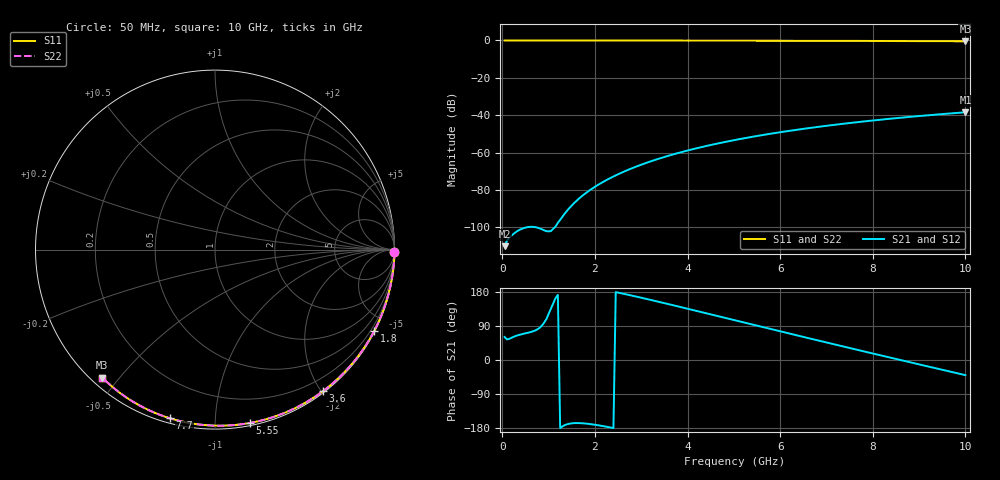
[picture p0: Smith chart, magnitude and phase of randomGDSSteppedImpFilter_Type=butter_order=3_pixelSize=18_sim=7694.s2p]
! freq	dB(S11)	phase(S11)	dB(S12)	phase(S12)
!  dB(S21)	phase(S21)	dB(S22)	phase(S22)
!S-par simulation data
#  GHz  S  DB  R 50
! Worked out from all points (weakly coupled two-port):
!   200 points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, 50 MHz to 10 GHz, reference 50 ohm
!   highest |S21| = -38.41 dB at 10 GHz (marker M1); lowest = -110.0 dB at 50 MHz (marker M2)
!   lowest |S11| = -0.4 dB at 10 GHz (marker M3), VSWR 39.08, Z = 1.54 - j22.6 ohm
!   |S11| at or under -10 dB: nowhere
!   |S22| runs from -0.4 to 0.0 dB; largest |S21 - S12| = 0
!   S11 on the Smith chart (normalised r, x): 50 MHz: open; 1.8 GHz: 0.04, -4.18; 3.6 GHz: 0.02, -2.02; 5.55 GHz: 0.02, -1.22; 7.7 GHz: 0.02, -0.77; 10 GHz: 0.03, -0.45
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0.05  -0.00 -0.8  -110.02 60.7  -110.02 60.7  -0.00 -0.8
0.45  -0.01 -6.8  -100.45 69.0  -100.45 69.0  -0.01 -6.8
0.9  -0.02 -13.6  -101.50 98.0  -101.50 98.0  -0.02 -13.6
1.75  -0.03 -26.2  -82.64 -167.1  -82.64 -167.1  -0.03 -26.2
1.8  -0.03 -26.9  -81.68 -167.7  -81.68 -167.7  -0.03 -26.9
1.9  -0.04 -28.4  -79.91 -169.1  -79.91 -169.1  -0.04 -28.4
2.05  -0.04 -30.6  -77.49 -171.8  -77.49 -171.8  -0.04 -30.6
2.25  -0.04 -33.5  -74.65 -176.1  -74.65 -176.1  -0.04 -33.5
2.45  -0.05 -36.4  -72.14 179.1  -72.14 179.1  -0.05 -36.4
2.65  -0.05 -39.2  -69.89 173.9  -69.89 173.9  -0.05 -39.2
3  -0.06 -44.2  -66.44 164.4  -66.44 164.4  -0.06 -44.2
3.4  -0.07 -49.8  -63.08 153.0  -63.08 153.0  -0.07 -49.8
3.6  -0.07 -52.6  -61.57 147.1  -61.57 147.1  -0.07 -52.6
4.3  -0.09 -62.2  -57.04 126.4  -57.04 126.4  -0.09 -62.2
5.05  -0.11 -72.1  -53.11 104.0  -53.11 104.0  -0.11 -72.1
5.55  -0.13 -78.6  -50.88 89.1  -50.88 89.1  -0.13 -78.6
6.1  -0.15 -85.6  -48.70 72.7  -48.70 72.7  -0.15 -85.6
6.7  -0.18 -93.0  -46.60 55.0  -46.60 55.0  -0.18 -93.0
7.7  -0.24 -105.0  -43.60 25.8  -43.60 25.8  -0.24 -105.0
8.35  -0.29 -112.6  -41.93 7.0  -41.93 7.0  -0.29 -112.6
9.15  -0.36 -121.7  -40.10 -15.8  -40.10 -15.8  -0.36 -121.7
10  -0.44 -131.3  -38.41 -39.9  -38.41 -39.9  -0.44 -131.3
